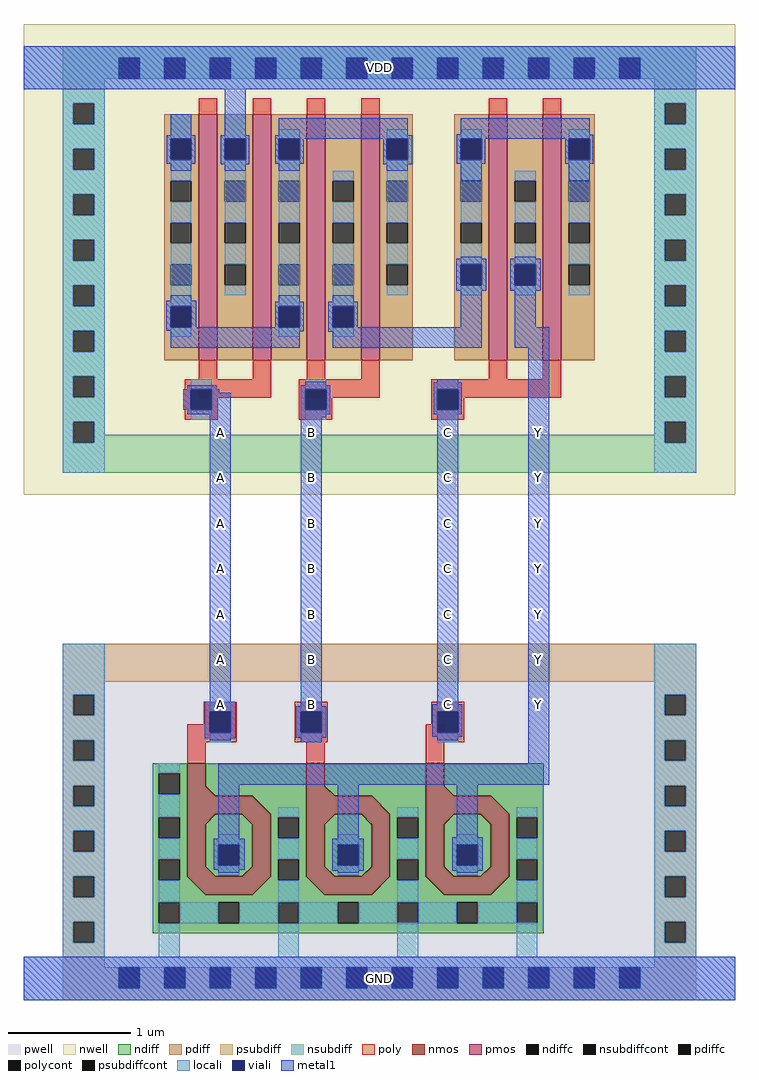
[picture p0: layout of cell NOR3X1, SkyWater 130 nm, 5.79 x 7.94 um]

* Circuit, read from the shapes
.subckt NOR3X1 Y A B C VDD GND
XM1 GND A Y GND sky130_fd_pr__nfet_01v8 w=2.56 l=0.1459
XM2 GND B Y GND sky130_fd_pr__nfet_01v8 w=2.56 l=0.1468
XM3 GND C Y GND sky130_fd_pr__nfet_01v8 w=2.56 l=0.1474
XM4 VDD A n1 VDD sky130_fd_pr__pfet_01v8 w=2 l=0.15 m=2
XM5 n2 B n1 VDD sky130_fd_pr__pfet_01v8 w=2 l=0.15 m=2
XM6 Y C n2 VDD sky130_fd_pr__pfet_01v8 w=2 l=0.15 m=2
.ends

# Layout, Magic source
magic
tech sky130A
magscale 1 2
<< nwell >>
rect 0 822 1158 1588
<< pwell >>
rect 64 0 1094 580
<< psubdiff >>
rect 64 0 1094 13
<< nsubdiff >>
rect 64 1550 1094 1552
<< locali >>
rect 0 1535 1158 1552
rect 0 1482 78 1535
rect 1058 1482 1158 1535
rect 0 17 88 70
rect 1070 17 1158 70
rect 0 0 1158 17
<< metal1 >>
rect 0 1482 1158 1552
rect 0 0 1158 70
use nor3x1_pcell  nor3x1_pcell_0
transform 1 0 98 0 1 36
box -87 -34 1049 1550
<< labels >>
rlabel metal1 821 463 855 497 1 Y
port 1 nsew signal output
rlabel metal1 821 537 855 571 1 Y
port 1 nsew signal output
rlabel metal1 821 611 855 645 1 Y
port 1 nsew signal output
rlabel metal1 821 685 855 719 1 Y
port 1 nsew signal output
rlabel metal1 821 759 855 793 1 Y
port 1 nsew signal output
rlabel metal1 821 833 855 867 1 Y
port 1 nsew signal output
rlabel metal1 821 907 855 941 1 Y
port 1 nsew signal output
rlabel metal1 303 463 337 497 1 A
port 2 nsew signal input
rlabel metal1 303 537 337 571 1 A
port 2 nsew signal input
rlabel metal1 303 611 337 645 1 A
port 2 nsew signal input
rlabel metal1 303 685 337 719 1 A
port 2 nsew signal input
rlabel metal1 303 759 337 793 1 A
port 2 nsew signal input
rlabel metal1 303 833 337 867 1 A
port 2 nsew signal input
rlabel metal1 303 907 337 941 1 A
port 2 nsew signal input
rlabel metal1 451 463 485 497 1 B
port 3 nsew signal input
rlabel metal1 451 537 485 571 1 B
port 3 nsew signal input
rlabel metal1 451 611 485 645 1 B
port 3 nsew signal input
rlabel metal1 451 685 485 719 1 B
port 3 nsew signal input
rlabel metal1 451 759 485 793 1 B
port 3 nsew signal input
rlabel metal1 451 833 485 867 1 B
port 3 nsew signal input
rlabel metal1 451 907 485 941 1 B
port 3 nsew signal input
rlabel metal1 673 463 707 497 1 C
port 4 nsew signal input
rlabel metal1 673 537 707 571 1 C
port 4 nsew signal input
rlabel metal1 673 611 707 645 1 C
port 4 nsew signal input
rlabel metal1 673 685 707 719 1 C
port 4 nsew signal input
rlabel metal1 673 759 707 793 1 C
port 4 nsew signal input
rlabel metal1 673 833 707 867 1 C
port 4 nsew signal input
rlabel metal1 673 907 707 941 1 C
port 4 nsew signal output
rlabel metal1 0 1482 1158 1552 1 VDD
port 5 nsew power bidirectional abutment
rlabel metal1 0 0 1158 70 1 GND
port 6 nsew power bidirectional abutment
<< properties >>
string FIXED_BBOX 0 0 1158 1552
string LEFclass CORE
string LEFsite unitrh
string LEFsymmetry X Y
<< end >>

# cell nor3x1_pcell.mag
magic
tech sky130A
magscale 1 2
<< nwell >>
rect 87 786 953 1550
<< pwell >>
rect 34 34 632 544
rect 34 -34 928 34
<< pdiffc >>
rect 141 1331 175 1365
rect 229 1331 263 1365
rect 317 1331 351 1365
rect 493 1331 527 1365
rect 613 1331 647 1365
rect 789 1331 823 1365
rect 141 1059 175 1093
rect 317 1059 351 1093
rect 405 1059 439 1093
<< psubdiff >>
rect 34 482 928 544
rect 34 -17 57 17
rect 91 -17 131 17
rect 165 -17 205 17
rect 239 -17 279 17
rect 313 -17 353 17
rect 387 -17 427 17
rect 461 -17 501 17
rect 535 -17 575 17
rect 609 -17 649 17
rect 683 -17 723 17
rect 757 -17 797 17
rect 831 -17 871 17
rect 905 -17 928 17
rect 34 -34 928 -17
<< nsubdiff >>
rect 34 1497 928 1514
rect 34 1463 57 1497
rect 91 1463 131 1497
rect 165 1463 205 1497
rect 239 1463 279 1497
rect 313 1463 353 1497
rect 387 1463 427 1497
rect 461 1463 501 1497
rect 535 1463 575 1497
rect 609 1463 649 1497
rect 683 1463 723 1497
rect 757 1463 797 1497
rect 831 1463 871 1497
rect 905 1463 928 1497
rect 34 822 928 884
<< psubdiffcont >>
rect 57 -17 91 17
rect 131 -17 165 17
rect 205 -17 239 17
rect 279 -17 313 17
rect 353 -17 387 17
rect 427 -17 461 17
rect 501 -17 535 17
rect 575 -17 609 17
rect 649 -17 683 17
rect 723 -17 757 17
rect 797 -17 831 17
rect 871 -17 905 17
<< nsubdiffcont >>
rect 57 1463 91 1497
rect 131 1463 165 1497
rect 205 1463 239 1497
rect 279 1463 313 1497
rect 353 1463 387 1497
rect 427 1463 461 1497
rect 501 1463 535 1497
rect 575 1463 609 1497
rect 649 1463 683 1497
rect 723 1463 757 1497
rect 797 1463 831 1497
rect 871 1463 905 1497
<< poly >>
rect 619 944 659 974
rect 168 375 198 413
rect 362 382 392 383
rect 556 382 586 413
<< locali >>
rect -24 1497 939 1514
rect -24 1463 57 1497
rect 91 1463 131 1497
rect 165 1463 205 1497
rect 239 1463 279 1497
rect 313 1463 353 1497
rect 387 1463 427 1497
rect 461 1463 501 1497
rect 535 1463 575 1497
rect 609 1463 649 1497
rect 683 1463 723 1497
rect 757 1463 797 1497
rect 831 1463 871 1497
rect 905 1463 939 1497
rect -24 1446 939 1463
rect 141 1365 175 1405
rect 141 1305 175 1331
rect 229 1365 263 1405
rect 229 1229 263 1331
rect 317 1365 351 1381
rect 317 1229 351 1331
rect 493 1365 527 1381
rect 493 1229 527 1331
rect 613 1365 647 1381
rect 613 1229 647 1331
rect 789 1365 823 1381
rect 789 1229 823 1331
rect 141 1093 175 1195
rect 141 1043 175 1059
rect 317 1093 351 1195
rect 317 1043 351 1059
rect 405 1093 439 1195
rect 405 1043 439 1059
rect 122 34 156 89
rect 316 34 350 89
rect 510 34 544 90
rect 704 34 738 90
rect -34 17 931 34
rect -34 -17 57 17
rect 91 -17 131 17
rect 165 -17 205 17
rect 239 -17 279 17
rect 313 -17 353 17
rect 387 -17 427 17
rect 461 -17 501 17
rect 535 -17 575 17
rect 609 -17 649 17
rect 683 -17 723 17
rect 757 -17 797 17
rect 831 -17 871 17
rect 905 -17 931 17
rect -34 -34 931 -17
<< viali >>
rect 57 1463 91 1497
rect 131 1463 165 1497
rect 205 1463 239 1497
rect 279 1463 313 1497
rect 353 1463 387 1497
rect 427 1463 461 1497
rect 501 1463 535 1497
rect 575 1463 609 1497
rect 649 1463 683 1497
rect 723 1463 757 1497
rect 797 1463 831 1497
rect 871 1463 905 1497
rect 141 1331 175 1365
rect 229 1331 263 1365
rect 317 1331 351 1365
rect 493 1331 527 1365
rect 613 1331 647 1365
rect 789 1331 823 1365
rect 141 1059 175 1093
rect 317 1059 351 1093
rect 613 1127 647 1161
rect 701 1127 735 1161
rect 405 1059 439 1093
rect 174 924 208 958
rect 360 924 394 958
rect 575 924 609 958
rect 205 399 239 433
rect 353 399 387 433
rect 575 399 609 433
rect 219 183 253 217
rect 413 183 447 217
rect 607 183 641 217
rect 57 -17 91 17
rect 131 -17 165 17
rect 205 -17 239 17
rect 279 -17 313 17
rect 353 -17 387 17
rect 427 -17 461 17
rect 501 -17 535 17
rect 575 -17 609 17
rect 649 -17 683 17
rect 723 -17 757 17
rect 797 -17 831 17
rect 871 -17 905 17
<< metal1 >>
rect 34 1497 928 1514
rect 34 1463 57 1497
rect 91 1463 131 1497
rect 165 1463 205 1497
rect 239 1463 279 1497
rect 313 1463 353 1497
rect 387 1463 427 1497
rect 461 1463 501 1497
rect 535 1463 575 1497
rect 609 1463 649 1497
rect 683 1463 723 1497
rect 757 1463 797 1497
rect 831 1463 871 1497
rect 905 1463 928 1497
rect 34 1446 928 1463
rect 141 1371 175 1405
rect 229 1371 263 1446
rect 317 1371 527 1399
rect 613 1373 823 1399
rect 607 1372 823 1373
rect 135 1365 181 1371
rect 135 1331 141 1365
rect 175 1331 181 1365
rect 135 1325 181 1331
rect 223 1365 269 1371
rect 223 1331 229 1365
rect 263 1331 269 1365
rect 141 1313 175 1325
rect 223 1324 269 1331
rect 311 1365 534 1371
rect 311 1331 317 1365
rect 351 1331 358 1365
rect 311 1325 358 1331
rect 487 1331 493 1365
rect 527 1331 534 1365
rect 229 1313 263 1324
rect 317 1313 351 1325
rect 487 1324 534 1331
rect 607 1365 829 1372
rect 607 1331 613 1365
rect 647 1331 653 1365
rect 607 1325 653 1331
rect 783 1331 789 1365
rect 823 1331 829 1365
rect 783 1325 829 1331
rect 493 1313 527 1324
rect 613 1297 647 1325
rect 789 1297 823 1325
rect 613 1170 647 1173
rect 701 1170 735 1173
rect 606 1161 655 1170
rect 606 1127 613 1161
rect 647 1127 655 1161
rect 606 1118 655 1127
rect 694 1161 743 1170
rect 694 1127 701 1161
rect 735 1127 743 1161
rect 694 1118 743 1127
rect 141 1102 175 1111
rect 134 1093 183 1102
rect 317 1100 351 1111
rect 405 1100 439 1111
rect 134 1059 141 1093
rect 175 1059 183 1093
rect 311 1093 358 1100
rect 311 1059 317 1093
rect 351 1059 358 1093
rect 134 1053 358 1059
rect 141 1052 358 1053
rect 398 1093 446 1100
rect 398 1059 405 1093
rect 439 1059 446 1093
rect 613 1059 647 1118
rect 141 1025 351 1052
rect 398 1051 647 1059
rect 405 1025 647 1051
rect 701 1059 735 1118
rect 701 1025 757 1059
rect 360 964 394 970
rect 575 969 609 974
rect 168 958 216 964
rect 353 958 401 964
rect 162 924 174 958
rect 208 952 220 958
rect 208 924 239 952
rect 168 917 239 924
rect 205 449 239 917
rect 353 924 360 958
rect 394 924 401 958
rect 353 917 401 924
rect 569 958 615 969
rect 569 924 575 958
rect 609 924 615 958
rect 569 917 615 924
rect 353 912 394 917
rect 197 433 247 449
rect 353 442 387 912
rect 575 445 609 917
rect 197 399 205 433
rect 239 399 247 433
rect 197 390 247 399
rect 345 433 394 442
rect 345 399 353 433
rect 387 399 394 433
rect 345 391 394 399
rect 567 433 616 445
rect 567 399 575 433
rect 609 399 616 433
rect 567 392 616 399
rect 205 387 239 390
rect 353 383 387 391
rect 575 387 609 392
rect 723 348 757 1025
rect 219 314 757 348
rect 219 226 253 314
rect 413 226 447 314
rect 607 229 641 314
rect 211 217 262 226
rect 211 183 219 217
rect 253 183 262 217
rect 211 176 262 183
rect 404 217 455 226
rect 404 183 413 217
rect 447 183 455 217
rect 219 171 253 176
rect 404 174 455 183
rect 599 217 649 229
rect 599 183 607 217
rect 641 183 649 217
rect 599 174 649 183
rect 413 171 447 174
rect 607 171 641 174
rect 34 17 928 34
rect 34 -17 57 17
rect 91 -17 131 17
rect 165 -17 205 17
rect 239 -17 279 17
rect 313 -17 353 17
rect 387 -17 427 17
rect 461 -17 501 17
rect 535 -17 575 17
rect 609 -17 649 17
rect 683 -17 723 17
rect 757 -17 797 17
rect 831 -17 871 17
rect 905 -17 928 17
rect 34 -34 928 -17
use diff_ring_side  diff_ring_side_0
transform 1 0 962 0 1 0
box -87 -34 87 1550
use diff_ring_side  diff_ring_side_1
transform 1 0 0 0 1 0
box -87 -34 87 1550
use nmos_top_trim1  nmos_top_trim1_1
transform -1 0 360 0 1 73
box 0 0 248 309
use nmos_top_trim2  nmos_top_trim2_0
transform -1 0 554 0 1 73
box 0 0 248 309
use nmos_top_trim2  nmos_top_trim2_1
transform -1 0 748 0 1 73
box 0 0 248 309
use pmos2_1  pmos2_1_0
transform 1 0 43 0 1 1404
box 52 -460 352 37
use pmos2_1  pmos2_1_1
transform 1 0 219 0 1 1404
box 52 -460 352 37
use pmos2_1  pmos2_1_2
transform 1 0 515 0 1 1404
box 52 -460 352 37
use poly_li1_contact  poly_li1_contact_0
transform 0 1 192 -1 0 942
box -32 -28 34 26
use poly_li1_contact  poly_li1_contact_1
transform 0 1 223 -1 0 417
box -32 -28 34 26
use poly_li1_contact  poly_li1_contact_2
transform 0 -1 369 1 0 415
box -32 -28 34 26
use poly_li1_contact  poly_li1_contact_3
transform 0 1 378 -1 0 942
box -32 -28 34 26
use poly_li1_contact  poly_li1_contact_4
transform 0 -1 591 1 0 415
box -32 -28 34 26
use poly_li1_contact  poly_li1_contact_5
transform 0 1 593 -1 0 942
box -32 -28 34 26
<< end >>

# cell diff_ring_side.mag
magic
tech sky130A
magscale 1 2
<< nwell >>
rect -87 786 87 1550
<< pwell >>
rect -34 -34 34 544
<< psubdiff >>
rect -34 461 34 544
rect -34 427 -17 461
rect 17 427 34 461
rect -34 387 34 427
rect -34 353 -17 387
rect 17 353 34 387
rect -34 313 34 353
rect -34 279 -17 313
rect 17 279 34 313
rect -34 239 34 279
rect -34 205 -17 239
rect 17 205 34 239
rect -34 165 34 205
rect -34 131 -17 165
rect 17 131 34 165
rect -34 91 34 131
rect -34 57 -17 91
rect 17 57 34 91
rect -34 -34 34 57
<< nsubdiff >>
rect -34 1423 34 1514
rect -34 1389 -17 1423
rect 17 1389 34 1423
rect -34 1349 34 1389
rect -34 1315 -17 1349
rect 17 1315 34 1349
rect -34 1275 34 1315
rect -34 1241 -17 1275
rect 17 1241 34 1275
rect -34 1201 34 1241
rect -34 1167 -17 1201
rect 17 1167 34 1201
rect -34 1127 34 1167
rect -34 1093 -17 1127
rect 17 1093 34 1127
rect -34 1053 34 1093
rect -34 1019 -17 1053
rect 17 1019 34 1053
rect -34 979 34 1019
rect -34 945 -17 979
rect 17 945 34 979
rect -34 905 34 945
rect -34 871 -17 905
rect 17 871 34 905
rect -34 822 34 871
<< psubdiffcont >>
rect -17 427 17 461
rect -17 353 17 387
rect -17 279 17 313
rect -17 205 17 239
rect -17 131 17 165
rect -17 57 17 91
<< nsubdiffcont >>
rect -17 1389 17 1423
rect -17 1315 17 1349
rect -17 1241 17 1275
rect -17 1167 17 1201
rect -17 1093 17 1127
rect -17 1019 17 1053
rect -17 945 17 979
rect -17 871 17 905
<< locali >>
rect -34 1423 34 1514
rect -34 1389 -17 1423
rect 17 1389 34 1423
rect -34 1349 34 1389
rect -34 1315 -17 1349
rect 17 1315 34 1349
rect -34 1275 34 1315
rect -34 1241 -17 1275
rect 17 1241 34 1275
rect -34 1201 34 1241
rect -34 1167 -17 1201
rect 17 1167 34 1201
rect -34 1127 34 1167
rect -34 1093 -17 1127
rect 17 1093 34 1127
rect -34 1053 34 1093
rect -34 1019 -17 1053
rect 17 1019 34 1053
rect -34 979 34 1019
rect -34 945 -17 979
rect 17 945 34 979
rect -34 905 34 945
rect -34 871 -17 905
rect 17 871 34 905
rect -34 822 34 871
rect -34 461 34 544
rect -34 427 -17 461
rect 17 427 34 461
rect -34 387 34 427
rect -34 353 -17 387
rect 17 353 34 387
rect -34 313 34 353
rect -34 279 -17 313
rect 17 279 34 313
rect -34 239 34 279
rect -34 205 -17 239
rect 17 205 34 239
rect -34 165 34 205
rect -34 131 -17 165
rect 17 131 34 165
rect -34 91 34 131
rect -34 57 -17 91
rect 17 57 34 91
rect -34 -34 34 57
<< metal1 >>
rect -34 1446 34 1514
rect -34 -34 34 34
<< end >>

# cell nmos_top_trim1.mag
magic
tech sky130
magscale 1 2
<< nmos >>
tri 146 223 162 239 se
rect 162 223 192 276
tri 56 193 86 223 se
rect 86 193 192 223
rect 56 92 86 193
tri 86 177 102 193 nw
tri 146 177 162 193 ne
tri 86 92 102 108 sw
tri 146 92 162 108 se
rect 162 92 192 193
tri 56 62 86 92 ne
rect 86 62 162 92
tri 162 62 192 92 nw
<< ndiff >>
rect 0 239 162 276
rect 0 223 146 239
tri 146 223 162 239 nw
rect 192 260 248 276
rect 192 226 204 260
rect 238 226 248 260
rect 0 188 56 223
tri 56 193 86 223 nw
rect 0 154 10 188
rect 44 154 56 188
rect 0 120 56 154
rect 0 86 10 120
rect 44 86 56 120
tri 86 177 102 193 se
rect 102 177 146 193
tri 146 177 162 193 sw
rect 86 144 162 177
rect 86 110 107 144
rect 141 110 162 144
rect 86 108 162 110
tri 86 92 102 108 ne
rect 102 92 146 108
tri 146 92 162 108 nw
rect 192 188 248 226
rect 192 154 204 188
rect 238 154 248 188
rect 192 120 248 154
rect 0 62 56 86
tri 56 62 86 92 sw
tri 162 62 192 92 se
rect 192 86 204 120
rect 238 86 248 120
rect 192 62 248 86
rect 0 50 248 62
rect 0 16 10 50
rect 44 16 107 50
rect 141 16 204 50
rect 238 16 248 50
rect 0 0 248 16
<< ndiffc >>
rect 204 226 238 260
rect 10 154 44 188
rect 10 86 44 120
rect 107 110 141 144
rect 204 154 238 188
rect 204 86 238 120
rect 10 16 44 50
rect 107 16 141 50
rect 204 16 238 50
<< poly >>
rect 162 276 192 309
<< locali >>
rect 204 260 238 276
rect 10 188 44 204
rect 204 188 238 226
rect 10 120 44 154
rect 107 144 141 161
rect 107 94 141 110
rect 204 120 238 154
rect 10 50 44 86
rect 204 50 238 86
rect 44 16 107 50
rect 141 16 204 50
rect 10 0 44 16
rect 204 0 238 16
<< end >>

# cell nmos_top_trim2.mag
magic
tech sky130
magscale 1 2
<< nmos >>
tri 146 223 162 239 se
rect 162 223 192 276
tri 56 193 86 223 se
rect 86 193 192 223
rect 56 178 87 193
tri 87 178 102 193 nw
tri 146 178 161 193 ne
rect 161 178 192 193
rect 56 92 86 178
tri 86 92 102 108 sw
tri 146 92 162 108 se
rect 162 92 192 178
tri 56 62 86 92 ne
rect 86 62 162 92
tri 162 62 192 92 nw
<< ndiff >>
rect 0 239 162 276
rect 0 223 146 239
tri 146 223 162 239 nw
rect 0 188 56 223
tri 56 193 86 223 nw
rect 0 154 10 188
rect 44 154 56 188
tri 87 178 102 193 se
rect 102 178 146 193
tri 146 178 161 193 sw
rect 192 188 248 276
rect 0 120 56 154
rect 0 86 10 120
rect 44 86 56 120
rect 86 144 162 178
rect 86 110 107 144
rect 141 110 162 144
rect 86 108 162 110
tri 86 92 102 108 ne
rect 102 92 146 108
tri 146 92 162 108 nw
rect 192 154 204 188
rect 238 154 248 188
rect 192 120 248 154
rect 0 62 56 86
tri 56 62 86 92 sw
tri 162 62 192 92 se
rect 192 86 204 120
rect 238 86 248 120
rect 192 62 248 86
rect 0 50 248 62
rect 0 16 10 50
rect 44 16 107 50
rect 141 16 204 50
rect 238 16 248 50
rect 0 0 248 16
<< ndiffc >>
rect 10 154 44 188
rect 10 86 44 120
rect 107 110 141 144
rect 204 154 238 188
rect 204 86 238 120
rect 10 16 44 50
rect 107 16 141 50
rect 204 16 238 50
<< poly >>
rect 162 276 192 309
<< locali >>
rect 10 188 44 205
rect 204 188 238 205
rect 10 120 44 154
rect 107 144 141 161
rect 107 94 141 110
rect 204 120 238 154
rect 10 50 44 86
rect 204 50 238 86
rect 44 16 107 50
rect 141 16 204 50
rect 10 0 44 16
rect 204 0 238 16
<< end >>

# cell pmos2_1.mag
magic
tech sky130A
magscale 1 2
<< nwell >>
rect 52 -435 352 37
<< pmos >>
rect 144 -399 174 1
rect 232 -399 262 1
<< pdiff >>
rect 88 -107 144 1
rect 88 -141 98 -107
rect 132 -141 144 -107
rect 88 -175 144 -141
rect 88 -209 98 -175
rect 132 -209 144 -175
rect 88 -243 144 -209
rect 88 -277 98 -243
rect 132 -277 144 -243
rect 88 -399 144 -277
rect 174 -107 232 1
rect 174 -141 186 -107
rect 220 -141 232 -107
rect 174 -175 232 -141
rect 174 -209 186 -175
rect 220 -209 232 -175
rect 174 -243 232 -209
rect 174 -277 186 -243
rect 220 -277 232 -243
rect 174 -399 232 -277
rect 262 -107 316 1
rect 262 -141 274 -107
rect 308 -141 316 -107
rect 262 -175 316 -141
rect 262 -209 274 -175
rect 308 -209 316 -175
rect 262 -243 316 -209
rect 262 -277 274 -243
rect 308 -277 316 -243
rect 262 -399 316 -277
<< pdiffc >>
rect 98 -141 132 -107
rect 98 -209 132 -175
rect 98 -277 132 -243
rect 186 -141 220 -107
rect 186 -209 220 -175
rect 186 -277 220 -243
rect 274 -141 308 -107
rect 274 -209 308 -175
rect 274 -277 308 -243
<< poly >>
rect 144 1 174 27
rect 232 1 262 27
rect 144 -430 174 -399
rect 232 -430 262 -399
rect 144 -460 262 -430
<< locali >>
rect 98 -107 132 -91
rect 98 -175 132 -141
rect 98 -243 132 -209
rect 98 -293 132 -277
rect 186 -107 220 -91
rect 186 -175 220 -141
rect 186 -243 220 -209
rect 186 -293 220 -277
rect 274 -107 308 -91
rect 274 -175 308 -141
rect 274 -243 308 -209
rect 274 -293 308 -277
<< end >>

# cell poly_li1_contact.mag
magic
tech sky130
<< poly >>
rect -16 8 17 13
rect -16 -9 -8 8
rect 9 -9 17 8
rect -16 -14 17 -9
<< polycont >>
rect -8 -9 9 8
<< locali >>
rect -16 -9 -8 8
rect 9 -9 17 8
<< end >>
